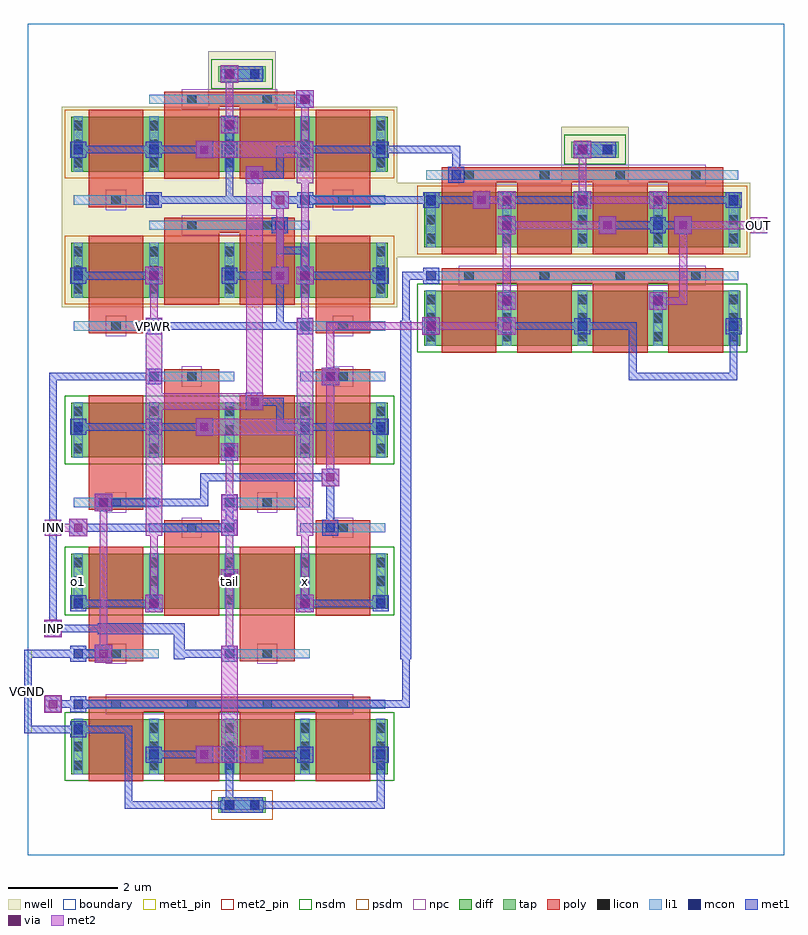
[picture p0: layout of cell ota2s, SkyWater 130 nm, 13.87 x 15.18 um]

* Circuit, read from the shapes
.subckt ota2s INN INP OUT VBN VGND VPWR o1 tail x
XM1 tail VBN VGND VGND sky130_fd_pr__nfet_01v8 w=1 l=1 m=4
XM2 o1 VGND o1 VGND sky130_fd_pr__nfet_01v8 w=1 l=1 m=2
XM3 x VGND x VGND sky130_fd_pr__nfet_01v8 w=1 l=1 m=2
XM4 tail INN o1 VGND sky130_fd_pr__nfet_01v8 w=1 l=1 m=2
XM5 tail INP x VGND sky130_fd_pr__nfet_01v8 w=1 l=1 m=2
XM6 OUT VBN VGND VGND sky130_fd_pr__nfet_01v8 w=1 l=1 m=4
XM7 o1 VPWR o1 VPWR sky130_fd_pr__pfet_01v8 w=1 l=1 m=2
XM8 x VPWR x VPWR sky130_fd_pr__pfet_01v8 w=1 l=1 m=2
XM9 VPWR x o1 VPWR sky130_fd_pr__pfet_01v8 w=1 l=1 m=2
XM10 VPWR x x VPWR sky130_fd_pr__pfet_01v8 w=1 l=1 m=2
XM11 OUT o1 VPWR VPWR sky130_fd_pr__pfet_01v8 w=1 l=1 m=4
.ends

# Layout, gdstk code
import gdstk
lib = gdstk.Library(unit=1e-6, precision=1e-09)
def R(c, l, rs):  # rectangles x0, y0, x1, y1
    for r in rs: c.add(gdstk.rectangle(r[:2], r[2:], *l))
def A(c, l, x, y, w, h, nx, ny, dx, dy):  # array of equal rectangles
    R(c, l, [(x+i*dx, y+j*dy, x+i*dx+w, y+j*dy+h) for i in range(nx) for j in range(ny)])
nwell = (64, 20)
diff = (65, 20)
tap = (65, 44)
poly = (66, 20)
licon = (66, 44)
li1 = (67, 20)
mcon = (67, 44)
met1_pin = (68, 16)
met1 = (68, 20)
via = (68, 44)
met2_pin = (69, 16)
met2 = (69, 20)
nsdm = (93, 44)
psdm = (94, 20)
npc = (95, 20)
boundary = (235, 4)

ota2s = lib.new_cell('ota2s')
R(ota2s, nwell, [(0.615,10,6.745,10.92), (0.615,10.92,13.185,12.28), (0.615,12.28,6.745,13.66), (9.735,12.28,10.965,13.3), (3.295,13.66,4.525,14.68)])
R(ota2s, diff, [(0.795,1.485,6.565,2.485), (0.795,4.505,6.565,5.505), (0.795,7.265,6.565,8.265), (7.235,9.305,13.005,10.305), (0.795,10.18,6.565,11.18), (7.235,11.1,13.005,12.1), (0.795,12.48,6.565,13.48)])
R(ota2s, tap, [(3.475,0.775,4.345,1.065), (9.915,12.735,10.785,13.025), (3.475,14.115,4.345,14.405)])
A(ota2s, poly, 1.11, 1.355, 1, 1.405, 4, 1, 1.38, 0)
A(ota2s, poly, 7.55, 9.175, 1, 1.405, 4, 1, 1.38, 0)
A(ota2s, poly, 7.55, 10.97, 1, 1.45, 4, 1, 1.38, 0)
R(ota2s, poly, [(1.11,2.625,6.25,2.895), (1.11,3.545,2.11,3.815), (3.87,3.545,4.87,3.815), (1.11,3.68,2.11,5.635), (3.87,3.68,4.87,5.635), (2.49,4.375,3.49,5.98), (5.25,4.375,6.25,5.98), (2.49,5.845,3.49,6.115), (5.25,5.845,6.25,6.115), (1.11,6.305,2.11,6.575), (3.87,6.305,4.87,6.575), (1.11,6.44,2.11,8.395), (3.87,6.44,4.87,8.395), (2.49,7.135,3.49,8.74), (5.25,7.135,6.25,8.74), (2.49,8.605,3.49,8.875), (5.25,8.605,6.25,8.875), (1.11,9.525,2.11,9.795), (5.25,9.525,6.25,9.795), (1.11,9.66,2.11,11.31), (5.25,9.66,6.25,11.31), (2.49,10.05,3.49,11.5), (3.87,10.05,4.87,11.5), (7.55,10.445,12.69,10.715), (2.49,11.365,4.87,11.635), (1.11,11.825,2.11,12.095), (5.25,11.825,6.25,12.095), (1.11,11.96,2.11,13.61), (5.25,11.96,6.25,13.61), (7.55,12.285,12.69,12.555), (2.49,12.35,3.49,13.8), (3.87,12.35,4.87,13.8), (2.49,13.665,4.87,13.935)])
A(ota2s, licon, 0.835, 1.56, 0.17, 0.17, 5, 3, 1.38, 0.34)
A(ota2s, licon, 1.525, 2.675, 0.17, 0.17, 4, 1, 1.38, 0)
A(ota2s, licon, 0.835, 4.58, 0.17, 0.17, 5, 3, 1.38, 0.34)
A(ota2s, licon, 2.905, 5.895, 0.17, 0.17, 1, 3, 0, 2.76)
A(ota2s, licon, 0.835, 7.34, 0.17, 0.17, 5, 3, 1.38, 0.34)
A(ota2s, licon, 7.275, 9.38, 0.17, 0.17, 5, 3, 1.38, 0.34)
A(ota2s, licon, 0.835, 10.255, 0.17, 0.17, 5, 3, 1.38, 0.34)
A(ota2s, licon, 7.965, 10.495, 0.17, 0.17, 4, 2, 1.38, 1.84)
A(ota2s, licon, 7.275, 11.175, 0.17, 0.17, 5, 3, 1.38, 0.34)
A(ota2s, licon, 0.835, 12.555, 0.17, 0.17, 5, 3, 1.38, 0.34)
R(ota2s, licon, [(3.595,0.835,3.765,1.005), (4.055,0.835,4.225,1.005), (1.525,3.595,1.695,3.765), (4.285,3.595,4.455,3.765), (5.665,5.895,5.835,6.065), (1.525,6.355,1.695,6.525), (4.285,6.355,4.455,6.525), (5.665,8.655,5.835,8.825), (1.525,9.575,1.695,9.745), (5.665,9.575,5.835,9.745), (4.285,11.415,4.455,11.585), (1.525,11.875,1.695,12.045), (5.665,11.875,5.835,12.045), (10.035,12.795,10.205,12.965), (10.495,12.795,10.665,12.965), (2.905,13.715,3.075,13.885), (4.285,13.715,4.455,13.885), (3.595,14.175,3.765,14.345), (4.055,14.175,4.225,14.345)])
A(ota2s, li1, 0.835, 1.48, 0.17, 1.01, 5, 2, 1.38, 3.02)
A(ota2s, li1, 0.835, 7.26, 0.17, 1.01, 5, 2, 1.38, 2.915)
A(ota2s, li1, 7.275, 9.3, 0.17, 1.01, 5, 2, 1.38, 1.795)
A(ota2s, li1, 0.835, 12.475, 0.17, 1.01, 5, 1, 1.38, 0)
R(ota2s, li1, [(3.515,0.835,4.305,1.005), (0.835,2.675,6.525,2.845), (0.835,3.595,2.385,3.765), (3.595,3.595,5.145,3.765), (2.215,5.895,3.765,6.065), (4.975,5.895,6.525,6.065), (0.835,6.355,2.385,6.525), (3.595,6.355,5.145,6.525), (2.215,8.655,3.765,8.825), (4.975,8.655,6.525,8.825), (0.835,9.575,2.385,9.745), (4.975,9.575,6.525,9.745), (7.275,10.495,12.965,10.665), (2.215,11.415,5.145,11.585), (0.835,11.875,2.385,12.045), (4.975,11.875,6.525,12.045), (7.275,12.335,12.965,12.505), (9.955,12.795,10.745,12.965), (2.215,13.715,5.145,13.885), (3.515,14.175,4.305,14.345)])
A(ota2s, mcon, 2.215, 1.755, 0.17, 0.17, 4, 1, 1.38, 0)
A(ota2s, mcon, 0.835, 2.675, 0.17, 0.17, 1, 3, 0, 0.92)
A(ota2s, mcon, 2.215, 7.735, 0.17, 0.17, 1, 3, 0, 0.92)
A(ota2s, mcon, 7.275, 9.575, 0.17, 0.17, 3, 2, 2.76, 2.3)
A(ota2s, mcon, 0.835, 10.495, 0.17, 0.17, 5, 2, 1.38, 2.3)
R(ota2s, mcon, [(3.595,0.835,3.765,1.005), (4.055,0.835,4.225,1.005), (0.835,2.215,1.005,2.385), (3.595,3.595,3.765,3.765), (2.215,4.515,2.385,4.685), (4.975,4.515,5.145,4.685), (6.355,4.515,6.525,4.685), (3.595,4.975,3.765,5.145), (3.595,5.895,3.765,6.065), (5.435,5.895,5.605,6.065), (1.295,6.355,1.465,6.525), (3.595,6.355,3.765,6.525), (3.595,7.275,3.765,7.445), (0.835,7.735,1.005,7.905), (4.975,7.735,5.145,7.905), (6.355,7.735,6.525,7.905), (5.435,8.655,5.605,8.825), (4.975,9.575,5.145,9.745), (8.655,10.035,8.825,10.205), (11.415,10.035,11.585,10.205), (7.275,10.495,7.445,10.665), (4.515,11.415,4.685,11.585), (8.655,11.415,8.825,11.585), (11.415,11.415,11.585,11.585), (2.215,11.875,2.385,12.045), (4.975,11.875,5.145,12.045), (7.735,12.335,7.905,12.505), (10.035,12.795,10.205,12.965), (10.495,12.795,10.665,12.965), (4.975,13.715,5.145,13.885), (3.595,14.175,3.765,14.345), (4.055,14.175,4.225,14.345)])
R(ota2s, met1_pin, [(-0.07,2.23,0.07,3.75), (2.155,9.515,2.445,9.805)])
A(ota2s, met1, 2.155, 1.695, 0.29, 0.29, 4, 1, 1.38, 0)
A(ota2s, met1, 0.775, 2.615, 0.29, 0.29, 1, 3, 0, 0.92)
A(ota2s, met1, 2.155, 7.675, 0.29, 0.29, 1, 3, 0, 0.92)
A(ota2s, met1, 7.215, 9.515, 0.29, 0.29, 3, 2, 2.76, 2.3)
A(ota2s, met1, 0.775, 10.435, 0.29, 0.29, 5, 2, 1.38, 2.3)
A(ota2s, met1, 4.53, 10.97, 0.6, 0.14, 1, 3, 0, 0.92)
A(ota2s, met1, 8.58, 11.8, 0.32, 0.32, 3, 1, 1.38, 0)
R(ota2s, met1, [(3.535,0.775,4.285,1.065), (1.77,0.85,3.75,0.99), (1.77,0.85,1.91,2.37), (3.61,0.85,6.51,0.99), (3.61,0.85,3.75,1.91), (3.61,0.85,3.75,0.99), (6.37,0.85,6.51,1.91), (3.06,1.68,3.38,2), (3.98,1.68,4.3,2), (2.23,1.77,3.29,1.91), (4.07,1.77,5.13,1.91), (0.775,2.155,1.065,2.445), (-0.07,2.23,0.99,2.37), (-0.07,2.23,0.07,3.75), (0.85,2.23,1.91,2.37), (0.3,2.6,0.62,2.92), (0.39,2.69,0.99,2.83), (0.85,2.69,6.97,2.83), (6.83,2.69,6.97,3.75), (1.22,3.52,1.54,3.84), (3.535,3.535,3.825,3.825), (2.66,3.58,2.86,4.24), (6.8,3.58,7,9.76), (-0.07,3.61,0.99,3.75), (0.85,3.61,1.45,3.75), (2.69,3.61,3.75,3.75), (0.3,3.98,0.62,4.3), (1.28,4.04,2.86,4.24), (0.39,4.07,0.53,8.81), (0.39,4.07,1.45,4.21), (2.14,4.44,2.46,4.76), (4.9,4.44,5.22,4.76), (2.155,4.455,2.445,4.745), (4.915,4.455,5.205,4.745), (6.295,4.455,6.585,4.745), (0.85,4.53,2.37,4.67), (4.99,4.53,6.51,4.67), (3.52,4.9,3.84,5.22), (3.535,4.915,3.825,5.205), (0.76,5.82,1.08,6.14), (3.535,5.835,3.825,6.125), (5.375,5.835,5.665,6.125), (0.85,5.91,3.75,6.05), (3.61,5.91,3.75,6.51), (5.45,5.91,5.59,6.97), (1.22,6.28,1.54,6.6), (1.235,6.295,1.525,6.585), (3.535,6.295,3.825,6.585), (1.31,6.37,3.29,6.51), (3.15,6.37,3.29,6.97), (5.36,6.74,5.68,7.06), (3.15,6.83,5.59,6.97), (3.52,7.2,3.84,7.52), (3.535,7.215,3.825,7.505), (3.06,7.66,3.38,7.98), (0.775,7.675,1.065,7.965), (4.915,7.675,5.205,7.965), (6.295,7.675,6.585,7.965), (0.85,7.75,2.37,7.89), (2.23,7.75,3.29,7.89), (4.53,7.75,5.13,7.89), (4.53,7.75,4.67,8.35), (4.99,7.75,6.51,7.89), (3.98,8.12,4.3,8.44), (4.07,8.21,4.67,8.35), (5.36,8.58,5.68,8.9), (5.375,8.595,5.665,8.885), (0.39,8.67,2.37,8.81), (10.97,8.67,11.11,9.73), (10.97,8.67,12.95,8.81), (12.81,8.67,12.95,9.73), (7.2,9.5,7.52,9.82), (8.58,9.5,8.9,9.82), (4.915,9.515,5.205,9.805), (2.23,9.59,4.67,9.73), (4.53,9.59,4.67,10.65), (4.53,9.59,5.13,9.73), (6.83,9.59,6.97,10.65), (8.67,9.59,10.19,9.73), (10.05,9.59,11.11,9.73), (8.58,9.96,8.9,10.28), (11.34,9.96,11.66,10.28), (8.595,9.975,8.885,10.265), (11.355,9.975,11.645,10.265), (2.14,10.42,2.46,10.74), (4.44,10.42,4.76,10.74), (4.9,10.42,5.22,10.74), (7.215,10.435,7.505,10.725), (0.85,10.51,2.37,10.65), (3.61,10.51,4.67,10.65), (4.99,10.51,6.51,10.65), (4.99,10.51,5.13,11.11), (6.83,10.51,7.43,10.65), (4.53,10.97,4.67,11.57), (8.58,11.34,8.9,11.66), (10.42,11.34,10.74,11.66), (11.8,11.34,12.12,11.66), (4.455,11.355,4.745,11.645), (8.595,11.355,8.885,11.645), (11.355,11.355,11.645,11.645), (10.51,11.43,11.57,11.57), (11.43,11.43,12.03,11.57), (4.44,11.8,4.76,12.12), (8.12,11.8,8.44,12.12), (2.155,11.815,2.445,12.105), (4.915,11.815,5.205,12.105), (2.23,11.89,3.75,12.03), (3.61,11.89,3.75,12.95), (3.61,11.89,4.67,12.03), (4.99,11.89,7.43,12.03), (7.29,11.89,8.35,12.03), (8.67,11.89,10.19,12.03), (11.43,11.89,12.95,12.03), (3.98,12.26,4.3,12.58), (7.675,12.275,7.965,12.565), (4.07,12.35,4.67,12.49), (4.53,12.35,4.67,12.95), (7.75,12.35,7.89,12.95), (3.06,12.72,3.38,13.04), (9.96,12.72,10.28,13.04), (9.975,12.735,10.725,13.025), (0.85,12.81,2.37,12.95), (2.23,12.81,3.29,12.95), (3.61,12.81,3.75,13.41), (4.99,12.81,6.51,12.95), (6.37,12.81,7.89,12.95), (10.05,12.81,10.19,12.95), (3.52,13.18,3.84,13.5), (4.9,13.64,5.22,13.96), (4.915,13.655,5.205,13.945), (3.52,14.1,3.84,14.42), (3.535,14.115,4.285,14.405), (3.61,14.19,3.75,14.33)])
A(ota2s, via, 8.665, 11.885, 0.15, 0.15, 3, 1, 1.38, 0)
R(ota2s, via, [(3.145,1.765,3.295,1.915), (4.065,1.765,4.215,1.915), (0.385,2.685,0.535,2.835), (1.305,3.605,1.455,3.755), (0.385,4.065,0.535,4.215), (2.225,4.525,2.375,4.675), (4.985,4.525,5.135,4.675), (3.605,4.985,3.755,5.135), (0.845,5.905,0.995,6.055), (1.305,6.365,1.455,6.515), (5.445,6.825,5.595,6.975), (3.605,7.285,3.755,7.435), (3.145,7.745,3.295,7.895), (4.065,8.205,4.215,8.355), (5.445,8.665,5.595,8.815), (7.285,9.585,7.435,9.735), (8.665,9.585,8.815,9.735), (8.665,10.045,8.815,10.195), (11.425,10.045,11.575,10.195), (2.225,10.505,2.375,10.655), (4.525,10.505,4.675,10.655), (4.985,10.505,5.135,10.655), (8.665,11.425,8.815,11.575), (10.505,11.425,10.655,11.575), (11.885,11.425,12.035,11.575), (4.525,11.885,4.675,12.035), (8.205,11.885,8.355,12.035), (4.065,12.345,4.215,12.495), (3.145,12.805,3.295,12.955), (10.045,12.805,10.195,12.955), (3.605,13.265,3.755,13.415), (4.985,13.725,5.135,13.875), (3.605,14.185,3.755,14.335)])
R(ota2s, met2_pin, [(0.31,2.61,0.61,2.91), (0.31,3.99,0.61,4.29), (0.31,5.83,0.61,6.13), (13.19,11.35,13.49,11.65)])
A(ota2s, met2, 8.58, 11.8, 0.32, 0.32, 3, 1, 1.38, 0)
R(ota2s, met2, [(3.06,1.68,3.38,2), (3.98,1.68,4.3,2), (3.07,1.69,3.83,1.99), (3.53,1.69,3.83,3.83), (3.53,1.69,4.29,1.99), (0.3,2.6,0.62,2.92), (0.31,2.61,0.61,2.91), (0.39,2.69,0.53,2.83), (1.22,3.52,1.54,3.84), (1.31,3.61,1.45,6.51), (3.61,3.61,3.75,5.13), (0.3,3.98,0.62,4.3), (0.31,3.99,0.61,4.29), (0.39,4.07,0.53,4.21), (2.14,4.44,2.46,4.76), (4.9,4.44,5.22,4.76), (2.23,4.53,2.37,6.05), (4.99,4.53,5.13,6.05), (3.52,4.9,3.84,5.22), (3.61,4.99,3.75,6.05), (0.76,5.82,1.08,6.14), (0.31,5.83,0.61,6.13), (2.15,5.83,2.45,9.81), (3.53,5.83,3.83,6.59), (4.91,5.83,5.21,9.81), (0.39,5.91,0.53,6.05), (0.39,5.91,0.99,6.05), (1.22,6.28,1.54,6.6), (3.61,6.37,3.75,7.43), (5.36,6.74,5.68,7.06), (5.45,6.83,5.59,8.81), (3.52,7.2,3.84,7.52), (3.06,7.66,3.38,7.98), (3.07,7.67,5.21,7.97), (3.98,8.12,4.3,8.44), (2.15,8.13,4.29,8.43), (3.99,8.13,4.29,12.57), (5.36,8.58,5.68,8.9), (5.45,8.67,5.59,9.73), (7.2,9.5,7.52,9.82), (8.58,9.5,8.9,9.82), (2.23,9.59,2.37,10.65), (4.99,9.59,5.13,10.65), (5.45,9.59,7.43,9.73), (7.29,9.59,8.81,9.73), (8.58,9.96,8.9,10.28), (11.34,9.96,11.66,10.28), (8.67,10.05,8.81,11.57), (11.43,10.05,12.03,10.19), (11.89,10.05,12.03,11.57), (2.14,10.42,2.46,10.74), (4.44,10.42,4.76,10.74), (4.9,10.42,5.22,10.74), (4.53,10.51,4.67,12.03), (4.99,10.51,5.13,12.49), (8.58,11.34,8.9,11.66), (10.42,11.34,10.74,11.66), (11.8,11.34,12.12,11.66), (13.19,11.35,13.49,11.65), (8.67,11.43,10.65,11.57), (11.89,11.43,13.41,11.57), (13.27,11.43,13.41,11.57), (4.44,11.8,4.76,12.12), (8.12,11.8,8.44,12.12), (8.21,11.89,8.81,12.03), (10.05,11.89,11.57,12.03), (10.05,11.89,10.19,12.95), (3.98,12.26,4.3,12.58), (4.91,12.27,5.21,13.03), (3.06,12.72,3.38,13.04), (9.96,12.72,10.28,13.04), (3.07,12.73,5.21,13.03), (4.99,12.81,5.13,13.87), (3.52,13.18,3.84,13.5), (3.61,13.27,3.75,14.33), (4.9,13.64,5.22,13.96), (3.52,14.1,3.84,14.42)])
R(ota2s, nsdm, [(0.67,1.36,6.69,2.61), (0.67,4.38,6.69,5.63), (0.67,7.14,6.69,8.39), (7.11,9.18,13.13,10.43), (9.79,12.61,10.91,13.15), (3.35,13.99,4.47,14.53)])
R(ota2s, psdm, [(3.35,0.65,4.47,1.19), (0.67,10.055,6.69,11.305), (7.11,10.975,13.13,12.225), (0.67,12.355,6.69,13.605)])
R(ota2s, npc, [(1.425,2.575,5.935,2.945), (1.425,3.495,1.795,3.865), (4.185,3.495,4.555,3.865), (2.805,5.795,3.175,6.165), (5.565,5.795,5.935,6.165), (1.425,6.255,1.795,6.625), (4.185,6.255,4.555,6.625), (2.805,8.555,3.175,8.925), (5.565,8.555,5.935,8.925), (1.425,9.475,1.795,9.845), (5.565,9.475,5.935,9.845), (7.865,10.395,12.375,10.765), (2.805,11.315,4.555,11.685), (1.425,11.775,1.795,12.145), (5.565,11.775,5.935,12.145), (7.865,12.235,12.375,12.605), (2.805,13.615,4.555,13.985)])
R(ota2s, boundary, [(0,0,13.8,15.18)])
ota2s.add(gdstk.Label('o1', (0.92,5.005), layer=67, texttype=5))
ota2s.add(gdstk.Label('tail', (3.68,5.005), layer=67, texttype=5))
ota2s.add(gdstk.Label('x', (5.06,5.005), layer=67, texttype=5))
ota2s.add(gdstk.Label('VPWR', (2.3,9.66), layer=68, texttype=5))
ota2s.add(gdstk.Label('VGND', (0,2.99), layer=68, texttype=5))
ota2s.add(gdstk.Label('INP', (0.46,4.14), layer=69, texttype=5))
ota2s.add(gdstk.Label('INN', (0.46,5.98), layer=69, texttype=5))
ota2s.add(gdstk.Label('VBN', (0.46,2.76), layer=69, texttype=5))
ota2s.add(gdstk.Label('OUT', (13.34,11.5), layer=69, texttype=5))
ota2s.add(gdstk.Label('VPWR', (2.3,9.66), layer=68, texttype=16))
ota2s.add(gdstk.Label('VGND', (0,2.99), layer=68, texttype=16))
ota2s.add(gdstk.Label('INP', (0.46,4.14), layer=69, texttype=16))
ota2s.add(gdstk.Label('INN', (0.46,5.98), layer=69, texttype=16))
ota2s.add(gdstk.Label('VBN', (0.46,2.76), layer=69, texttype=16))
ota2s.add(gdstk.Label('OUT', (13.34,11.5), layer=69, texttype=16))

lib.write_gds('ota2s.gds')
